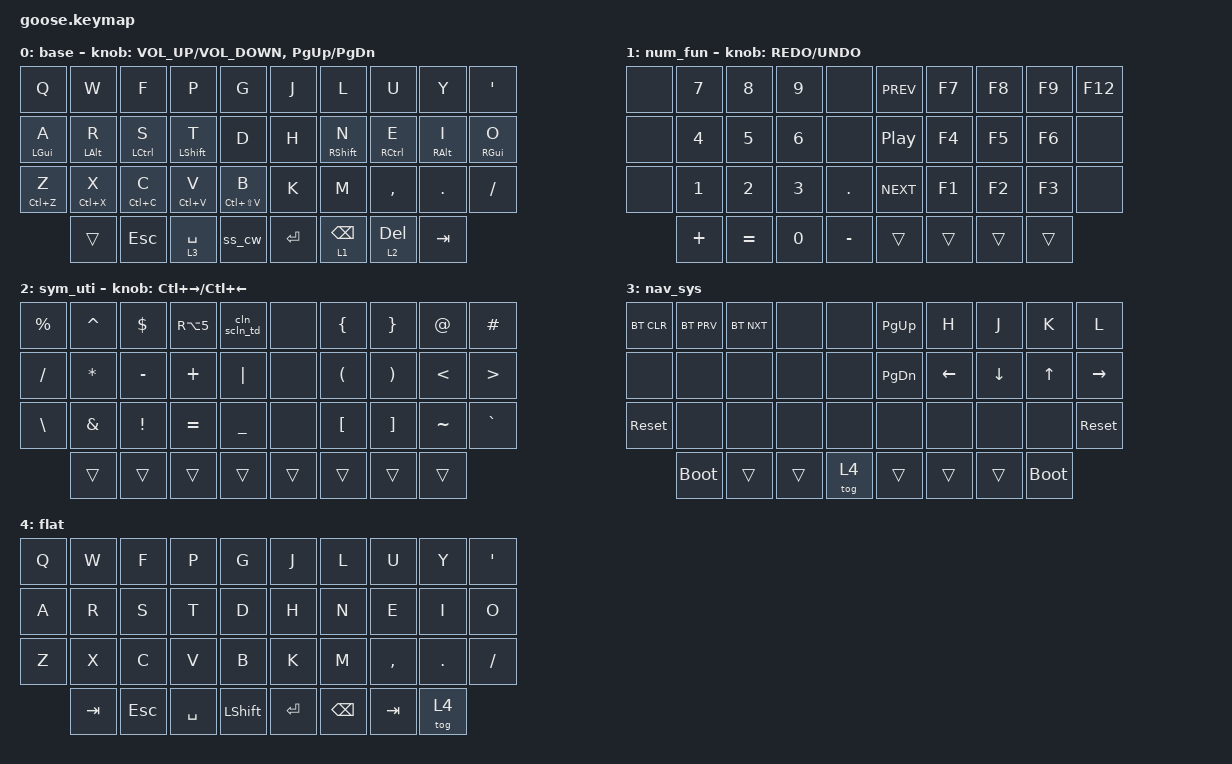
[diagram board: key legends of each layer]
/*
 * Copyright (c) 2020 The ZMK Contributors
 *
 * SPDX-License-Identifier: MIT
 */

#include <behaviors.dtsi>
#include <dt-bindings/zmk/bt.h>
#include <dt-bindings/zmk/keys.h>

#define QUICK_TAP_MS 125
#define TAPPING_TERM_MS 175
#define SLOW_TAPPING_TERM_MS 350
#define IDLE_TIMEOUT_MS 5000
#define REQ_IDLE_MS 150

&lt {
    // Layer toggle

    flavor = "tap-preferred";
    tapping-term-ms = <TAPPING_TERM_MS>;
    quick-tap-ms = <QUICK_TAP_MS>;
};

&sk {
    // Sticky keys settings, One Shot Keys [QMK]

    release-after-ms = <IDLE_TIMEOUT_MS>;
    quick-release;
};

&caps_word {
    // Allow caps word to continue even when minus or underscore are pressed.
    // Also prevent mod presses from cancelling caps word.

    continue-list = <
      UNDERSCORE MINUS
      LCTRL LALT LGUI LSHFT
      RCTRL RALT RGUI RSHFT
      BACKSPACE
    >;

    /delete-property/ ignore-modifiers;
};

/ {
    behaviors {
        hml: homerow_mods_left {
            compatible = "zmk,behavior-hold-tap";
            label = "HOMEROW_MODS_LEFT_HAND";
            bindings = <&kp>, <&kp>;

            #binding-cells = <2>;
            tapping-term-ms = <TAPPING_TERM_MS>;
            quick-tap-ms = <QUICK_TAP_MS>;
            flavor = "balanced";
            require-prior-idle-ms = <REQ_IDLE_MS>;
            hold-trigger-key-positions = <5 6 7 8 9 19 18 17 16 15 34 25 26 35 27 28 29 37 36>;
            hold-trigger-on-release;
        };
        hmr: homerow_mods_right {
            compatible = "zmk,behavior-hold-tap";
            label = "HOMEROW_MODS_RIGHT_HAND";
            bindings = <&kp>, <&kp>;

            #binding-cells = <2>;
            tapping-term-ms = <TAPPING_TERM_MS>;
            quick-tap-ms = <QUICK_TAP_MS>;
            require-prior-idle-ms = <REQ_IDLE_MS>;
            hold-trigger-key-positions = <0 1 2 3 4 14 13 12 11 10 11 12 13 14 20 21 22 23 24 30 31 32 33>;
            flavor = "balanced";
            hold-trigger-on-release;
        };
        ss_cw: shift_capsword {
            compatible = "zmk,behavior-tap-dance";
            label = "SHIFT_CAPSWORD";
            #binding-cells = <0>;
            bindings = <&sk LEFT_SHIFT>, <&caps_word>;

            tapping-term-ms = <SLOW_TAPPING_TERM_MS>;
        };
        cln_scln_td: cln_scln_td {
            compatible = "zmk,behavior-tap-dance";
            label = "CLN_SCLN_TD";
            #binding-cells = <0>;
            bindings = <&kp COLON>, <&kp SEMICOLON>;
        };
        umt: umt {
            compatible = "zmk,behavior-hold-tap";
            label = "UTILITY_MT";
            bindings = <&kp>, <&kp>;

            #binding-cells = <2>;
            tapping-term-ms = <SLOW_TAPPING_TERM_MS>;
            require-prior-idle-ms = <REQ_IDLE_MS>;
            flavor = "tap-preferred";
            hold-trigger-key-positions = <20 21 22 23 24>;
            quick-tap-ms = <QUICK_TAP_MS>;
            hold-trigger-on-release;
        };
    };

    keymap {
        compatible = "zmk,keymap";

        base {
            bindings = <
//    ┌─────────┬─────────┬─────────┬─────────┬──────────┐   ┌─────┬──────────┬──────────┬───────┬──────┐
//    │    Q    │    W    │    F    │    P    │     G    │   │  J  │     L    │     U    │   Y   │   '  │
//    ├─────────┼─────────┼─────────┼─────────┼──────────┤   ├─────┼──────────┼──────────┼───────┼──────┤
//    │   ◆ A   │   ⎇  R  │   ⎈ S   │   ⇧ T   │     D    │   │  H  │    ⇧ N   │    ⎈ E   │  ⎇  I │  ◆ O │
//    ├─────────┼─────────┼─────────┼─────────┼──────────┤   ├─────┼──────────┼──────────┼───────┼──────┤
//    │ ░ Und Z │ ░ Cut X │ ░ Cop C │ ░ Pas V │ ░ LCSv B │   │  K  │     M    │     ,    │   .   │   /  │
//    └─────────┼─────────┼─────────┼─────────┼──────────┤   ├─────┼──────────┼──────────┼───────┼──────┘
//              │    ·    │   ESC   │ ◆ NAV ␣ │  ⇧/Word  │   │  ⏎  │ ◆ NUM ⌫  │ ◆ SYM ⌦  │   ↹   │       
//              └─────────┴─────────┴─────────┴──────────┘   └─────┴──────────┴──────────┴───────┘       
  &kp Q             &kp W             &kp F                 &kp P               &kp G                  &kp J       &kp L                &kp U                  &kp Y              &kp APOSTROPHE  
  &hml LEFT_GUI A   &hml LEFT_ALT R   &hml LEFT_CONTROL S   &hml LEFT_SHIFT T   &kp D                  &kp H       &hmr RIGHT_SHIFT N   &hmr RIGHT_CONTROL E   &hmr RIGHT_ALT I   &hmr RIGHT_GUI O
  &umt LC(Z) Z      &umt LC(X) X      &umt LC(C) C          &umt LC(V) V        &umt LC(LS(V)) B       &kp K       &kp M                &kp COMMA              &kp PERIOD         &kp SLASH       
                    &trans            &kp ESCAPE            &lt 3 SPACE         &ss_cw                 &kp ENTER   &lt 1 BACKSPACE      &lt 2 DELETE           &kp TAB                            
            >;

            sensor-bindings =
                <&inc_dec_kp C_VOL_UP C_VOLUME_DOWN>,
                <&inc_dec_kp PAGE_UP PAGE_DOWN>;
        };

        num_fun {
            bindings = <
//    ┌───┬────┬────┬────┬────┐   ┌─────┬─────┬─────┬─────┬──────┐
//    │   │  7 │  8 │  9 │    │   │  ⏮  │  F7 │  F8 │  F9 │  F12 │
//    ├───┼────┼────┼────┼────┤   ├─────┼─────┼─────┼─────┼──────┤
//    │   │  4 │  5 │  6 │    │   │  ⏯  │  F4 │  F5 │  F6 │      │
//    ├───┼────┼────┼────┼────┤   ├─────┼─────┼─────┼─────┼──────┤
//    │   │  1 │  2 │  3 │  . │   │  ⏭  │  F1 │  F2 │  F3 │      │
//    └───┼────┼────┼────┼────┤   ├─────┼─────┼─────┼─────┼──────┘
//        │  + │  = │  0 │  - │   │  ·  │  ·  │  ·  │  ·  │       
//        └────┴────┴────┴────┘   └─────┴─────┴─────┴─────┘       
  &none   &kp N7     &kp N8      &kp N9   &none           &kp C_PREV   &kp F7   &kp F8   &kp F9   &kp F12
  &none   &kp N4     &kp N5      &kp N6   &none           &kp C_PP     &kp F4   &kp F5   &kp F6   &none  
  &none   &kp N1     &kp N2      &kp N3   &kp DOT         &kp C_NEXT   &kp F1   &kp F2   &kp F3   &none  
          &kp PLUS   &kp EQUAL   &kp N0   &kp MINUS       &trans       &trans   &trans   &trans          
            >;

            sensor-bindings = <&inc_dec_kp K_REDO K_UNDO>;
        };

        sym_uti {
            bindings = <
//    ┌────┬────┬────┬────┬─────┐   ┌───┬────┬────┬────┬────┐
//    │  % │  ^ │  $ │  € │ : ; │   │   │  { │  } │  @ │  # │
//    ├────┼────┼────┼────┼─────┤   ├───┼────┼────┼────┼────┤
//    │  / │  * │  - │  + │  |  │   │   │  ( │  ) │  < │  > │
//    ├────┼────┼────┼────┼─────┤   ├───┼────┼────┼────┼────┤
//    │  \ │  & │  ! │  = │  _  │   │   │  [ │  ] │  ~ │  ` │
//    └────┼────┼────┼────┼─────┤   ├───┼────┼────┼────┼────┘
//         │ ·  │ ·  │ ·  │  ·  │   │ · │ ·  │ ·  │ ·  │     
//         └────┴────┴────┴─────┘   └───┴────┴────┴────┘     
  &kp PERCENT   &kp CARET       &kp DOLLAR        &kp RA(N5)   &cln_scln_td         &none    &kp LEFT_BRACE         &kp RIGHT_BRACE         &kp AT_SIGN     &kp HASH        
  &kp FSLH      &kp ASTERISK    &kp MINUS         &kp PLUS     &kp PIPE             &none    &kp LEFT_PARENTHESIS   &kp RIGHT_PARENTHESIS   &kp LESS_THAN   &kp GREATER_THAN
  &kp BSLH      &kp AMPERSAND   &kp EXCLAMATION   &kp EQUAL    &kp UNDERSCORE       &none    &kp LBKT               &kp RBKT                &kp TILDE       &kp GRAVE       
                &trans          &trans            &trans       &trans               &trans   &trans                 &trans                  &trans                          
            >;

            sensor-bindings = <&inc_dec_kp LC(RIGHT) LC(LEFT)>;
        };

        nav_sys {
            bindings = <
//    ┌────────────┬──────────────┬────────────┬───┬───────────┐   ┌───────┬────┬────┬──────────────┬─────────┐
//    │ &bt BT_CLR │  &bt BT_PRV  │ &bt BT_NXT │   │           │   │  ⇞ ↑  │  H │  J │       K      │    L    │
//    ├────────────┼──────────────┼────────────┼───┼───────────┤   ├───────┼────┼────┼──────────────┼─────────┤
//    │            │              │            │   │           │   │  ⇟ DN │  ← │  ↓ │       ↑      │    →    │
//    ├────────────┼──────────────┼────────────┼───┼───────────┤   ├───────┼────┼────┼──────────────┼─────────┤
//    │  ↺ Reset   │              │            │   │           │   │       │    │    │              │ ↺ Reset │
//    └────────────┼──────────────┼────────────┼───┼───────────┤   ├───────┼────┼────┼──────────────┼─────────┘
//                 │ ⌀ Bootloader │     ·      │ · │ &tog FLAT │   │   ·   │ ·  │ ·  │ ⌀ Bootloader │          
//                 └──────────────┴────────────┴───┴───────────┘   └───────┴────┴────┴──────────────┘          
  &bt BT_CLR   &bt BT_PRV    &bt BT_NXT   &none    &none        &kp PG_UP   &kp H      &kp J      &kp K         &kp L     
  &none        &none         &none        &none    &none        &kp PG_DN   &kp LEFT   &kp DOWN   &kp UP        &kp RIGHT 
  &sys_reset   &none         &none        &none    &none        &none       &none      &none      &none         &sys_reset
               &bootloader   &trans       &trans   &tog 4       &trans      &trans     &trans     &bootloader             
            >;
        };

        flat {
            bindings = <
//    ┌────┬────┬──────┬────┬────────┐   ┌─────┬───────┬────┬───────────┬────┐
//    │  Q │  W │   F  │  P │    G   │   │  J  │   L   │  U │     Y     │  ' │
//    ├────┼────┼──────┼────┼────────┤   ├─────┼───────┼────┼───────────┼────┤
//    │  A │  R │   S  │  T │    D   │   │  H  │   N   │  E │     I     │  O │
//    ├────┼────┼──────┼────┼────────┤   ├─────┼───────┼────┼───────────┼────┤
//    │  Z │  X │   C  │  V │    B   │   │  K  │   M   │  , │     .     │  / │
//    └────┼────┼──────┼────┼────────┤   ├─────┼───────┼────┼───────────┼────┘
//         │  ↹ │  ESC │  ␣ │  LSHFT │   │  ⏎  │  BSPC │  ↹ │ &tog FLAT │     
//         └────┴──────┴────┴────────┘   └─────┴───────┴────┴───────────┘     
  &kp Q   &kp W     &kp F     &kp P       &kp G           &kp J       &kp L      &kp U       &kp Y     &kp APOSTROPHE
  &kp A   &kp R     &kp S     &kp T       &kp D           &kp H       &kp N      &kp E       &kp I     &kp O         
  &kp Z   &kp X     &kp C     &kp V       &kp B           &kp K       &kp M      &kp COMMA   &kp DOT   &kp FSLH      
          &kp TAB   &kp ESC   &kp SPACE   &kp LSHFT       &kp ENTER   &kp BSPC   &kp TAB     &tog 4                  
            >;
        };

        sensor-bindings = <&inc_dec_kp C_VOLUME_UP C_VOLUME_DOWN>;
    };
};
